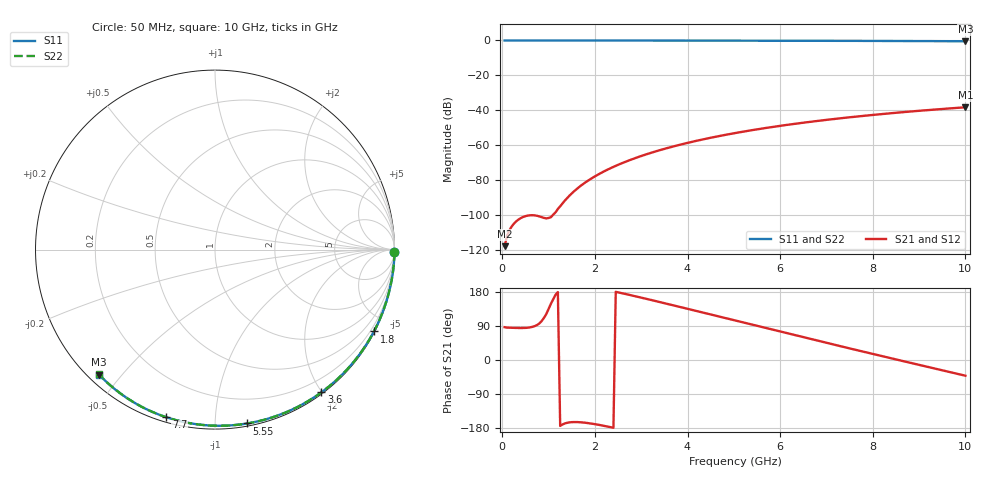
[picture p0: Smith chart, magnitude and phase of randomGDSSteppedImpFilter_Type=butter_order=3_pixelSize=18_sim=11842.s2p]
! freq	dB(S11)	phase(S11)	dB(S12)	phase(S12)
!  dB(S21)	phase(S21)	dB(S22)	phase(S22)
!S-par simulation data
#  GHz  S  DB  R 50
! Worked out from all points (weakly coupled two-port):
!   200 points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, 50 MHz to 10 GHz, reference 50 ohm
!   highest |S21| = -38.27 dB at 10 GHz (marker M1); lowest = -117.8 dB at 50 MHz (marker M2)
!   lowest |S11| = -0.4 dB at 10 GHz (marker M3), VSWR 38.73, Z = 1.54 - j21.8 ohm
!   |S11| at or under -10 dB: nowhere
!   |S22| runs from -0.4 to 0.0 dB; largest |S21 - S12| = 0
!   S11 on the Smith chart (normalised r, x): 50 MHz: open; 1.8 GHz: 0.04, -4.13; 3.6 GHz: 0.02, -1.99; 5.55 GHz: 0.02, -1.20; 7.7 GHz: 0.02, -0.75; 10 GHz: 0.03, -0.44
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0.05  -0.00 -0.8  -117.80 86.6  -117.80 86.6  -0.00 -0.8
0.45  -0.01 -6.9  -101.09 84.5  -101.09 84.5  -0.01 -6.9
0.9  -0.02 -13.7  -101.62 111.4  -101.62 111.4  -0.02 -13.8
1.75  -0.03 -26.5  -82.12 -165.0  -82.12 -165.0  -0.03 -26.5
1.8  -0.03 -27.2  -81.19 -165.7  -81.19 -165.7  -0.03 -27.2
1.85  -0.04 -28.0  -80.30 -166.5  -80.30 -166.5  -0.04 -28.0
1.9  -0.04 -28.7  -79.44 -167.3  -79.44 -167.3  -0.04 -28.7
2.05  -0.04 -30.9  -77.07 -170.4  -77.07 -170.4  -0.04 -30.9
2.25  -0.04 -33.9  -74.27 -175.0  -74.27 -175.0  -0.04 -33.9
2.65  -0.05 -39.7  -69.57 174.5  -69.57 174.5  -0.05 -39.7
3  -0.06 -44.8  -66.17 164.6  -66.17 164.6  -0.06 -44.8
3.4  -0.07 -50.4  -62.83 152.9  -62.83 152.9  -0.07 -50.5
3.6  -0.07 -53.3  -61.34 147.0  -61.34 147.0  -0.07 -53.3
4.3  -0.09 -62.9  -56.84 126.1  -56.84 126.1  -0.09 -62.9
5.05  -0.11 -73.0  -52.92 103.5  -52.92 103.5  -0.11 -73.0
5.55  -0.13 -79.5  -50.69 88.5  -50.69 88.5  -0.13 -79.5
6.1  -0.15 -86.6  -48.52 72.0  -48.52 72.0  -0.15 -86.6
6.7  -0.18 -94.0  -46.42 54.2  -46.42 54.2  -0.18 -94.1
7.7  -0.24 -106.2  -43.44 24.7  -43.44 24.7  -0.24 -106.2
8.35  -0.29 -113.8  -41.77 5.9  -41.77 5.9  -0.29 -113.9
9.15  -0.36 -123.1  -39.96 -17.1  -39.96 -17.1  -0.36 -123.2
10  -0.45 -132.9  -38.27 -41.5  -38.27 -41.5  -0.45 -132.9
